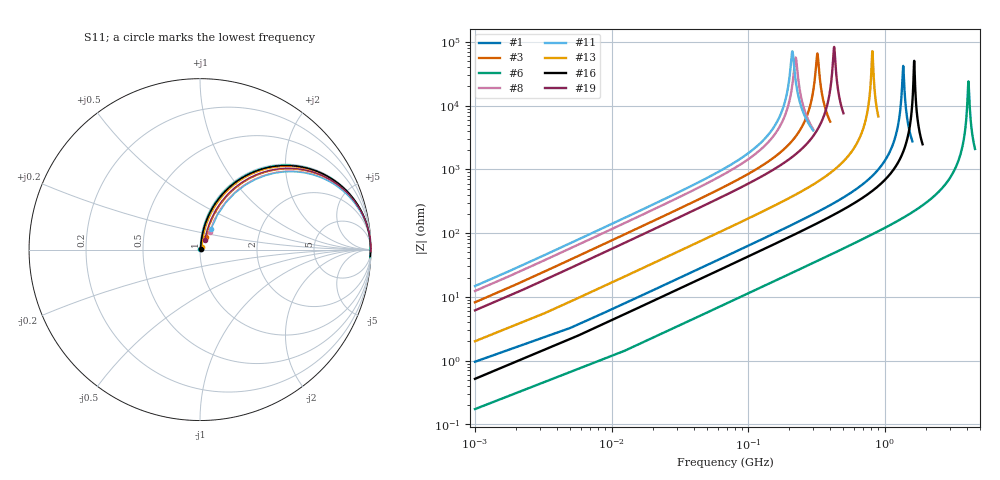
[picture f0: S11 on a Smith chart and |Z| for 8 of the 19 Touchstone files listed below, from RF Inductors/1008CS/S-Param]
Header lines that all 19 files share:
! 02 July 2002
# MHZ S MA R 50
!Freq  MagS11  AngS11  MagS21  AngS21  MagS12  AngS12  MagS22  AngS22
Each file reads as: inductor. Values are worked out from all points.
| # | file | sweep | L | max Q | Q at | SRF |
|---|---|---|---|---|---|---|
| 1 | 10CS101.S2P | 1 MHz to 1.6 GHz | 100 nH | 78.6 | 523.7 MHz | 1.37 GHz |
| 2 | 10CS102.S2P | 1 MHz to 400 MHz | 975 nH | 56 | 118 MHz | 352 MHz |
| 3 | 10CS122.S2P | 1 MHz to 400 MHz | 1.21 uH | 54.8 | 115 MHz | 322 MHz |
| 4 | 10CS151.S2P | 1 MHz to 1.3 GHz | 150 nH | 111 | 422.2 MHz | 1.112 GHz |
| 5 | 10CS152.S2P | 1 MHz to 300 MHz | 1.51 uH | 39.4 | 94.75 MHz | 259 MHz |
| 6 | 10CS180.S2P | 1 MHz to 4.6 GHz | 18 nH | 103 | 1.435 GHz | 4.107 GHz |
| 7 | 10CS181.S2P | 1 MHz to 1.2 GHz | 180 nH | 102 | 389.7 MHz | 1.039 GHz |
| 8 | 10CS182.S2P | 1 MHz to 300 MHz | 1.82 uH | 37.1 | 82.75 MHz | 223 MHz |
| 9 | 10CS220.S2P | 1 MHz to 3.4 GHz | 22 nH | 92.3 | 1.036 GHz | 3.045 GHz |
| 10 | 10CS221.S2P | 1 MHz to 1 GHz | 224 nH | 90.6 | 332.2 MHz | 875 MHz |
| 11 | 10CS222.S2P | 1 MHz to 300 MHz | 2.2 uH | 36.7 | 79.75 MHz | 211 MHz |
| 12 | 10CS270.S2P | 1 MHz to 2.5 GHz | 27 nH | 81.7 | 767.3 MHz | 2.25 GHz |
| 13 | 10CS271.S2P | 1 MHz to 900 MHz | 265 nH | 85.9 | 312.4 MHz | 814.1 MHz |
| 14 | 10CS330.S2P | 1 MHz to 2.9 GHz | 33 nH | 92.5 | 883.1 MHz | 2.56 GHz |
| 15 | 10CS391.S2P | 1 MHz to 800 MHz | 380 nH | 76.6 | 263.7 MHz | 693.5 MHz |
| 16 | 10CS680.S2P | 1 MHz to 1.9 GHz | 68 nH | 89.1 | 640.9 MHz | 1.646 GHz |
| 17 | 10CS681.S2P | 1 MHz to 600 MHz | 665 nH | 67.9 | 199.2 MHz | 522.5 MHz |
| 18 | 10CS821.S2P | 1 MHz to 600 MHz | 810 nH | 61.4 | 184.3 MHz | 480.8 MHz |
| 19 | 10CS911.S2P | 1 MHz to 500 MHz | 895 nH | 63.6 | 157.2 MHz | 426.3 MHz |
